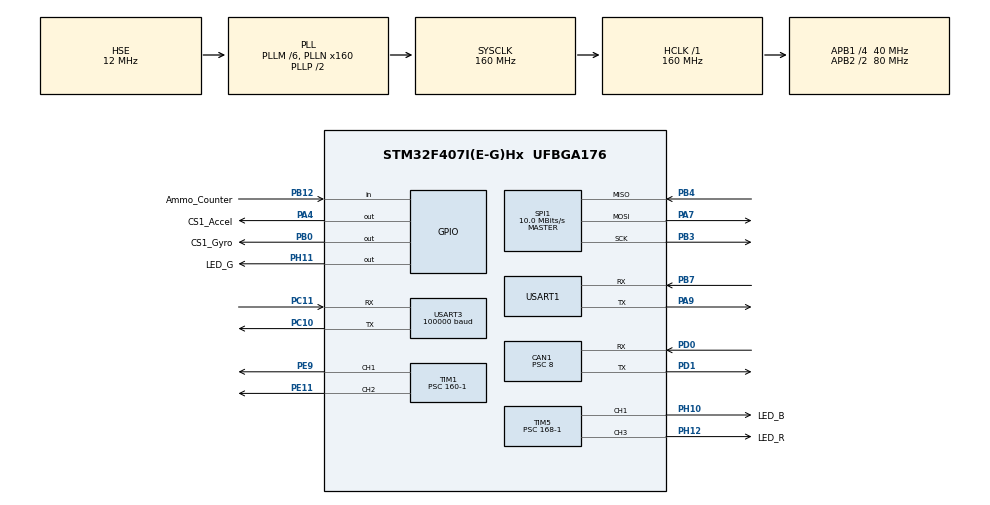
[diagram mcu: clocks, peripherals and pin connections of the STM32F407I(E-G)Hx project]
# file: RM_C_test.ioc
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CAN1.BS1=CAN_BS1_2TQ
CAN1.BS2=CAN_BS2_2TQ
CAN1.CalculateBaudRate=1000000
CAN1.CalculateTimeBit=1000
CAN1.CalculateTimeQuantum=200.0
CAN1.Prescaler=8
Dma.Request0=USART3_RX
Dma.USART3_RX.0.Direction=DMA_PERIPH_TO_MEMORY
Dma.USART3_RX.0.FIFOMode=DMA_FIFOMODE_DISABLE
Dma.USART3_RX.0.Instance=DMA1_Stream1
Dma.USART3_RX.0.MemDataAlignment=DMA_MDATAALIGN_BYTE
Dma.USART3_RX.0.MemInc=DMA_MINC_ENABLE
Dma.USART3_RX.0.Mode=DMA_CIRCULAR
Dma.USART3_RX.0.PeriphDataAlignment=DMA_PDATAALIGN_BYTE
Dma.USART3_RX.0.PeriphInc=DMA_PINC_DISABLE
Dma.USART3_RX.0.Priority=DMA_PRIORITY_VERY_HIGH
FREERTOS.Tasks01=defaultTask,24,128,StartDefaultTask,Default,NULL,Dynamic,NULL,NULL;SendMessage,8,256,start_SendMessage,Default,NULL,Dynamic,NULL,NULL;ReceiveMessage,40,128,startReceiveMessage,Default,NULL,Dynamic,NULL,NULL;ChangeTarget,24,128,fun_ChangeTarget,Default,NULL,Dynamic,NULL,NULL;PWM_Test,22,128,Start_PWM_Test,Default,NULL,Dynamic,NULL,NULL;IMU_Read,8,128,StartIMU_Read,Default,NULL,Dynamic,NULL,NULL;Chassis_task,8,128,Start_Chassis_task,Default,NULL,Dynamic,NULL,NULL
FREERTOS.configUSE_NEWLIB_REENTRANT=1
Mcu.Family=STM32F4
Mcu.Name=STM32F407I(E-G)Hx
Mcu.Package=UFBGA176
NVIC.CAN1_RX0_IRQn=true\:5\:0\:false\:false\:true\:true\:true\:true\:true
NVIC.CAN1_RX1_IRQn=true\:5\:0\:false\:false\:true\:true\:true\:true\:true
NVIC.CAN1_SCE_IRQn=true\:5\:0\:false\:false\:true\:true\:true\:true\:true
NVIC.CAN1_TX_IRQn=true\:5\:0\:true\:false\:true\:true\:true\:true\:true
NVIC.DMA1_Stream1_IRQn=true\:5\:0\:false\:false\:true\:true\:false\:true\:true
NVIC.FLASH_IRQn=true\:5\:0\:false\:false\:true\:true\:true\:true\:true
NVIC.PriorityGroup=NVIC_PRIORITYGROUP_4
NVIC.RCC_IRQn=true\:5\:0\:false\:false\:true\:true\:true\:false\:true
NVIC.SPI1_IRQn=true\:6\:0\:true\:false\:true\:true\:true\:true\:true
NVIC.TIM1_BRK_TIM9_IRQn=true\:5\:0\:false\:false\:true\:true\:true\:true\:true
NVIC.TIM1_CC_IRQn=true\:5\:0\:false\:false\:true\:true\:true\:true\:true
NVIC.TIM1_TRG_COM_TIM11_IRQn=true\:5\:0\:false\:false\:true\:true\:true\:true\:true
NVIC.TIM1_UP_TIM10_IRQn=true\:5\:0\:true\:false\:true\:true\:true\:true\:true
NVIC.TIM5_IRQn=true\:5\:0\:false\:false\:true\:true\:true\:true\:true
NVIC.TIM6_DAC_IRQn=true\:15\:0\:false\:false\:true\:false\:false\:true\:true
NVIC.TimeBase=TIM6_DAC_IRQn
NVIC.TimeBaseIP=TIM6
NVIC.USART1_IRQn=true\:7\:0\:true\:false\:true\:true\:true\:true\:true
NVIC.USART3_IRQn=true\:6\:0\:true\:true\:true\:1\:true\:true\:true\:true
PA13.Mode=Serial_Wire
PA13.Signal=SYS_JTMS-SWDIO
PA14.Mode=Serial_Wire
PA14.Signal=SYS_JTCK-SWCLK
PA4.GPIO_Label=CS1_Accel
PA4.GPIO_PuPd=GPIO_PULLUP
PA4.GPIO_Speed=GPIO_SPEED_FREQ_VERY_HIGH
PA4.Signal=GPIO_Output
PA7.Mode=Full_Duplex_Master
PA7.Signal=SPI1_MOSI
PA9.Mode=Asynchronous
PA9.Signal=USART1_TX
PB0.GPIO_Label=CS1_Gyro
PB0.GPIO_PuPd=GPIO_PULLUP
PB0.GPIO_Speed=GPIO_SPEED_FREQ_VERY_HIGH
PB0.Signal=GPIO_Output
PB12.GPIO_Label=Ammo_Counter
PB12.GPIO_PuPd=GPIO_PULLUP
PB12.Signal=GPIO_Input
PB3.Mode=Full_Duplex_Master
PB3.Signal=SPI1_SCK
PB4.Mode=Full_Duplex_Master
PB4.Signal=SPI1_MISO
PB7.Mode=Asynchronous
PB7.Signal=USART1_RX
PC10.Mode=Asynchronous
PC10.Signal=USART3_TX
PC11.Mode=Asynchronous
PC11.Signal=USART3_RX
PD0.Mode=CAN_Activate
PD0.Signal=CAN1_RX
PD1.Mode=CAN_Activate
PD1.Signal=CAN1_TX
PE11.GPIO_Speed=GPIO_SPEED_FREQ_HIGH
PE11.Signal=S_TIM1_CH2
PE9.GPIO_Speed=GPIO_SPEED_FREQ_HIGH
PE9.Signal=S_TIM1_CH1
PH0-OSC_IN.Mode=HSE-External-Oscillator
PH0-OSC_IN.Signal=RCC_OSC_IN
PH1-OSC_OUT.Mode=HSE-External-Oscillator
PH1-OSC_OUT.Signal=RCC_OSC_OUT
PH10.GPIO_Label=LED_B
PH10.GPIO_ModeDefaultPP=GPIO_MODE_AF_PP
PH10.GPIO_Speed=GPIO_SPEED_FREQ_HIGH
PH10.Signal=S_TIM5_CH1
PH11.GPIO_Label=LED_G
PH11.Signal=GPIO_Output
PH12.GPIO_Label=LED_R
PH12.GPIO_ModeDefaultPP=GPIO_MODE_AF_PP
PH12.GPIO_Speed=GPIO_SPEED_FREQ_HIGH
PH12.Signal=S_TIM5_CH3
ProjectManager.HeapSize=0x200
ProjectManager.StackSize=0x400
ProjectManager.TargetToolchain=STM32CubeIDE
RCC.48MHZClocksFreq_Value=80000000
RCC.AHBFreq_Value=160000000
RCC.APB1CLKDivider=RCC_HCLK_DIV4
RCC.APB1Freq_Value=40000000
RCC.APB1TimFreq_Value=80000000
RCC.APB2CLKDivider=RCC_HCLK_DIV2
RCC.APB2Freq_Value=80000000
RCC.APB2TimFreq_Value=160000000
RCC.CortexFreq_Value=160000000
RCC.HCLKFreq_Value=160000000
RCC.HSE_VALUE=12000000
RCC.HSI_VALUE=16000000
RCC.LSE_VALUE=32768
RCC.PLLM=6
RCC.PLLN=160
RCC.PLLSourceVirtual=RCC_PLLSOURCE_HSE
RCC.SYSCLKFreq_VALUE=160000000
RCC.SYSCLKSource=RCC_SYSCLKSOURCE_PLLCLK
RCC.VCOOutputFreq_Value=320000000
SH.S_TIM1_CH1.0=TIM1_CH1,PWM Generation1 CH1
SH.S_TIM1_CH2.0=TIM1_CH2,PWM Generation2 CH2
SH.S_TIM5_CH1.0=TIM5_CH1,PWM Generation1 CH1
SH.S_TIM5_CH3.0=TIM5_CH3,PWM Generation3 CH3
SPI1.BaudRatePrescaler=SPI_BAUDRATEPRESCALER_8
SPI1.CLKPhase=SPI_PHASE_2EDGE
SPI1.CLKPolarity=SPI_POLARITY_HIGH
SPI1.CalculateBaudRate=10.0 MBits/s
SPI1.Direction=SPI_DIRECTION_2LINES
SPI1.Mode=SPI_MODE_MASTER
SPI1.VirtualType=VM_MASTER
TIM1.AutoReloadPreload=TIM_AUTORELOAD_PRELOAD_ENABLE
TIM1.Channel-PWM\ Generation1\ CH1=TIM_CHANNEL_1
TIM1.Channel-PWM\ Generation2\ CH2=TIM_CHANNEL_2
TIM1.OCMode_PWM-PWM\ Generation2\ CH2=TIM_OCMODE_PWM1
TIM1.Period=2000-1
TIM1.Prescaler=160-1
TIM5.AutoReloadPreload=TIM_AUTORELOAD_PRELOAD_ENABLE
TIM5.Channel-PWM\ Generation1\ CH1=TIM_CHANNEL_1
TIM5.Channel-PWM\ Generation3\ CH3=TIM_CHANNEL_3
TIM5.Period=1000-1
TIM5.Prescaler=168-1
USART1.VirtualMode=VM_ASYNC
USART3.BaudRate=100000
USART3.Mode=MODE_RX
USART3.Parity=PARITY_EVEN
USART3.VirtualMode=VM_ASYNC
USART3.WordLength=WORDLENGTH_9B
VP_FREERTOS_VS_CMSIS_V2.Mode=CMSIS_V2
VP_SYS_VS_tim6.Mode=TIM6
VP_TIM1_VS_ClockSourceINT.Mode=Internal
VP_TIM5_VS_ClockSourceINT.Mode=Internal
board=custom

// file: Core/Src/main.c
/* USER CODE BEGIN Header */
/**
  ******************************************************************************
  * @file           : main.c
  * @brief          : Main program body
  ******************************************************************************
  * @attention
  *
  * Copyright (c) 2023 STMicroelectronics.
  * All rights reserved.
  *
  * This software is licensed under terms that can be found in the LICENSE file
  * in the root directory of this software component.
  * If no LICENSE file comes with this software, it is provided AS-IS.
  *
  ******************************************************************************
  */
/* USER CODE END Header */
#include "main.h"
#include "cmsis_os.h"
#include "can.h"
#include "dma.h"
#include "spi.h"
#include "tim.h"
#include "usart.h"
#include "gpio.h"

/* USER CODE BEGIN Includes */
#include "pid.h"
#include "kalman.h"
#include "IMU.h"
/* USER CODE END Includes */

/* USER CODE BEGIN PD */
uint8_t Message[] = "noob\n";
extern uint8_t RC_buff[18];
//uint8_t RC_buff[18];

/* USER CODE END PD */

void SystemClock_Config(void);
void MX_FREERTOS_Init(void);
static void MX_NVIC_Init(void);
/* USER CODE BEGIN PFP */
void Can_MessageConfig(void);
void Can_Filter1Config(void);
void HAL_CAN_RxFifo0MsgPendingCallback(CAN_HandleTypeDef *hcan);
void HAL_TIM_PeriodElapsedCallback(TIM_HandleTypeDef *htim);
void PWM_Init();
/* USER CODE END PFP */

int main(void)
{

  /* MCU Configuration--------------------------------------------------------*/

  /* Reset of all peripherals, Initializes the Flash interface and the Systick. */
  HAL_Init();

  /* Configure the system clock */
  SystemClock_Config();

  /* Initialize all configured peripherals */
  MX_GPIO_Init();
  MX_DMA_Init();
  MX_USART1_UART_Init();
  MX_CAN1_Init();
  MX_TIM1_Init();
  MX_TIM5_Init();
  MX_SPI1_Init();
  MX_USART3_UART_Init();

  /* Initialize interrupts */
  MX_NVIC_Init();
  /* USER CODE BEGIN 2 */
  Can_MessageConfig();
  Can_Filter1Config();
  HAL_CAN_ActivateNotification(&hcan1, CAN_IT_RX_FIFO0_MSG_PENDING);
  HAL_CAN_Start(&hcan1);
  PID_Clear(&PID_Motor_Speed[0]);
  PID_Clear(&PID_Motor_Angle[0]);
  PID_Init();
  KalmanFilter_Init(&Klm_Motor[0]);
  PWM_Init();
  BMI088_init();
  Motor[Motor_Yaw_ID].target_angle = 6144;
  Motor[Motor_Pitch_ID].target_angle = 3300;
  Motor[Motor_Yaw_ID].target_speed = 0;

  HAL_UART_Receive_DMA(&huart3, RC_buff, RC_FRAME_LENGTH);//初始化DMA
  __HAL_UART_ENABLE_IT(&huart3, UART_IT_IDLE);//IDLE 中断使能
  HAL_Delay(1000);

  /* USER CODE END 2 */

  /* Init scheduler */
  osKernelInitialize();  /* Call init function for freertos objects (in freertos.c) */
  MX_FREERTOS_Init();

  /* Start scheduler */
  osKernelStart();

  /* We should never get here as control is now taken by the scheduler */
  /* Infinite loop */
  /* USER CODE BEGIN WHILE */
  while (1)
  {

	  HAL_GPIO_TogglePin(LED_G_GPIO_Port, LED_G_Pin);
	  HAL_Delay(500);

    /* USER CODE END WHILE */

  }
}

void SystemClock_Config(void)
{
  RCC_OscInitTypeDef RCC_OscInitStruct = {0};
  RCC_ClkInitTypeDef RCC_ClkInitStruct = {0};

  /** Configure the main internal regulator output voltage
  */
  __HAL_RCC_PWR_CLK_ENABLE();
  __HAL_PWR_VOLTAGESCALING_CONFIG(PWR_REGULATOR_VOLTAGE_SCALE1);

  /** Initializes the RCC Oscillators according to the specified parameters
  * in the RCC_OscInitTypeDef structure.
  */
  RCC_OscInitStruct.OscillatorType = RCC_OSCILLATORTYPE_HSE;
  RCC_OscInitStruct.HSEState = RCC_HSE_ON;
  RCC_OscInitStruct.PLL.PLLState = RCC_PLL_ON;
  RCC_OscInitStruct.PLL.PLLSource = RCC_PLLSOURCE_HSE;
  RCC_OscInitStruct.PLL.PLLM = 6;
  RCC_OscInitStruct.PLL.PLLN = 160;
  RCC_OscInitStruct.PLL.PLLP = RCC_PLLP_DIV2;
  RCC_OscInitStruct.PLL.PLLQ = 4;
  if (HAL_RCC_OscConfig(&RCC_OscInitStruct) != HAL_OK)
  {
    Error_Handler();
  }

  /** Initializes the CPU, AHB and APB buses clocks
  */
  RCC_ClkInitStruct.ClockType = RCC_CLOCKTYPE_HCLK|RCC_CLOCKTYPE_SYSCLK
                              |RCC_CLOCKTYPE_PCLK1|RCC_CLOCKTYPE_PCLK2;
  RCC_ClkInitStruct.SYSCLKSource = RCC_SYSCLKSOURCE_PLLCLK;
  RCC_ClkInitStruct.AHBCLKDivider = RCC_SYSCLK_DIV1;
  RCC_ClkInitStruct.APB1CLKDivider = RCC_HCLK_DIV4;
  RCC_ClkInitStruct.APB2CLKDivider = RCC_HCLK_DIV2;

  if (HAL_RCC_ClockConfig(&RCC_ClkInitStruct, FLASH_LATENCY_5) != HAL_OK)
  {
    Error_Handler();
  }
}

/**
  * @brief NVIC Configuration.
  * @retval None
  */
static void MX_NVIC_Init(void)
{
  /* USART3_IRQn interrupt configuration */
  HAL_NVIC_SetPriority(USART3_IRQn, 6, 0);
  HAL_NVIC_EnableIRQ(USART3_IRQn);
}

/* USER CODE BEGIN 4 */

void PWM_Init()
{
	  HAL_TIM_Base_Start(&htim1);
	  HAL_TIM_PWM_Start(&htim1,TIM_CHANNEL_1);
	  HAL_TIM_PWM_Start(&htim1,TIM_CHANNEL_2);
//	  HAL_TIM_PWM_Start(&htim1, TIM_CHANNEL_3);
//	  HAL_TIM_PWM_Start(&htim1, TIM_CHANNEL_4);
//
	  HAL_Delay(100);
//void SPEED_INIT(int speed){
	  __HAL_TIM_SET_COMPARE(&htim1,TIM_CHANNEL_1,1000);
	  HAL_Delay(1650);
	  __HAL_TIM_SET_COMPARE(&htim1,TIM_CHANNEL_2,1000);
	  HAL_Delay(1650);
//}
//void SPEED_SET(int speed){//速度极限�???????1999，但是禁止如此使用，极易损坏发射管，曾经测试的时候一次发射就打废�???????对摩擦轮了且造成了钢板损坏，�???????以�?�度建议�???????1001~1600左右�???????
	  __HAL_TIM_SET_COMPARE(&htim1,TIM_CHANNEL_1,1200);
	  __HAL_TIM_SET_COMPARE(&htim1,TIM_CHANNEL_2,1200);
	  HAL_Delay(500);
//	  __HAL_TIM_SET_COMPARE(&htim1,TIM_CHANNEL_1,0);
//	  __HAL_TIM_SET_COMPARE(&htim1,TIM_CHANNEL_2,0);
//	  HAL_TIM_PWM_Stop(&htim1, TIM_CHANNEL_1);
//	  HAL_TIM_PWM_Stop(&htim1, TIM_CHANNEL_2);
}
/* USER CODE END 4 */

void HAL_TIM_PeriodElapsedCallback(TIM_HandleTypeDef *htim)
{
  if (htim->Instance == TIM6) {
    HAL_IncTick();
  }
}

void Error_Handler(void)
{
  __disable_irq();
  while (1)
  {
  }
}

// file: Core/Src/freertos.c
/* USER CODE BEGIN Header */
/**
  ******************************************************************************
  * File Name          : freertos.c
  * Description        : Code for freertos applications
  ******************************************************************************
  * @attention
  *
  * Copyright (c) 2023 STMicroelectronics.
  * All rights reserved.
  *
  * This software is licensed under terms that can be found in the LICENSE file
  * in the root directory of this software component.
  * If no LICENSE file comes with this software, it is provided AS-IS.
  *
  ******************************************************************************
  */
/* USER CODE END Header */

#include "FreeRTOS.h"
#include "task.h"
#include "main.h"
#include "cmsis_os.h"

/* USER CODE BEGIN Includes */
#include "usart.h"
#include "can.h"
#include "pid.h"
#include "kalman.h"
#include "tim.h"
#include "spi.h"
#include "IMU.h"
#include "remote.h"
#include "Chassis.h"
#include "MahonyAHRS.h"
#include "math.h"
/* USER CODE END Includes */

/* USER CODE BEGIN PD */
extern uint8_t Message[];
int spcount = 0;
/* USER CODE END PD */

/* Definitions for defaultTask */
osThreadId_t defaultTaskHandle;
const osThreadAttr_t defaultTask_attributes = {
  .name = "defaultTask",
  .stack_size = 128 * 4,
  .priority = (osPriority_t) osPriorityNormal,
};
/* Definitions for SendMessage */
osThreadId_t SendMessageHandle;
const osThreadAttr_t SendMessage_attributes = {
  .name = "SendMessage",
  .stack_size = 256 * 4,
  .priority = (osPriority_t) osPriorityLow,
};
/* Definitions for ReceiveMessage */
osThreadId_t ReceiveMessageHandle;
const osThreadAttr_t ReceiveMessage_attributes = {
  .name = "ReceiveMessage",
  .stack_size = 128 * 4,
  .priority = (osPriority_t) osPriorityHigh,
};
/* Definitions for ChangeTarget */
osThreadId_t ChangeTargetHandle;
const osThreadAttr_t ChangeTarget_attributes = {
  .name = "ChangeTarget",
  .stack_size = 128 * 4,
  .priority = (osPriority_t) osPriorityNormal,
};
/* Definitions for PWM_Test */
osThreadId_t PWM_TestHandle;
const osThreadAttr_t PWM_Test_attributes = {
  .name = "PWM_Test",
  .stack_size = 128 * 4,
  .priority = (osPriority_t) osPriorityBelowNormal6,
};
/* Definitions for IMU_Read */
osThreadId_t IMU_ReadHandle;
const osThreadAttr_t IMU_Read_attributes = {
  .name = "IMU_Read",
  .stack_size = 128 * 4,
  .priority = (osPriority_t) osPriorityLow,
};
/* Definitions for Chassis_task */
osThreadId_t Chassis_taskHandle;
const osThreadAttr_t Chassis_task_attributes = {
  .name = "Chassis_task",
  .stack_size = 128 * 4,
  .priority = (osPriority_t) osPriorityLow,
};

void StartDefaultTask(void *argument);
void start_SendMessage(void *argument);
void startReceiveMessage(void *argument);
void fun_ChangeTarget(void *argument);
void Start_PWM_Test(void *argument);
void StartIMU_Read(void *argument);
void Start_Chassis_task(void *argument);

void MX_FREERTOS_Init(void); /* (MISRA C 2004 rule 8.1) */

void MX_FREERTOS_Init(void) {

  /* Create the thread(s) */
  /* creation of defaultTask */
  defaultTaskHandle = osThreadNew(StartDefaultTask, NULL, &defaultTask_attributes);

  /* creation of SendMessage */
  SendMessageHandle = osThreadNew(start_SendMessage, NULL, &SendMessage_attributes);

  /* creation of ReceiveMessage */
  ReceiveMessageHandle = osThreadNew(startReceiveMessage, NULL, &ReceiveMessage_attributes);

  /* creation of ChangeTarget */
  ChangeTargetHandle = osThreadNew(fun_ChangeTarget, NULL, &ChangeTarget_attributes);

  /* creation of PWM_Test */
  PWM_TestHandle = osThreadNew(Start_PWM_Test, NULL, &PWM_Test_attributes);

  /* creation of IMU_Read */
  IMU_ReadHandle = osThreadNew(StartIMU_Read, NULL, &IMU_Read_attributes);

  /* creation of Chassis_task */
  Chassis_taskHandle = osThreadNew(Start_Chassis_task, NULL, &Chassis_task_attributes);

}

void StartDefaultTask(void *argument)
{
  for(;;)
  {
    osDelay(1);
  }
}

void start_SendMessage(void *argument)
{
  /* USER CODE BEGIN start_SendMessage */
	static int16_t temp_yaw, temp_pitch, temp_ammofeed;
  /* Infinite loop */
  for(;;)
  {

	  PID_Origin(&PID_Motor_Angle[Motor_Pitch_ID], Motor[Motor_Pitch_ID].angle, Motor[Motor_Pitch_ID].target_angle);
	  PID_Origin(&PID_Motor_Angle[Motor_Yaw_ID], Motor[Motor_Yaw_ID].angle, Motor[Motor_Yaw_ID].target_angle);

	  PID_Incr(&PID_Motor_Speed[Motor_AmmoFeed_ID],Motor[Motor_AmmoFeed_ID].speed,Motor[Motor_AmmoFeed_ID].target_speed);
      PID_Incr(&PID_Motor_Speed[Motor_Yaw_ID], Motor[Motor_Yaw_ID].speed, PID_Motor_Angle[Motor_Yaw_ID].Output);
	  PID_Incr(&PID_Motor_Speed[Motor_Pitch_ID],Motor[Motor_Pitch_ID].speed,PID_Motor_Angle[Motor_Pitch_ID].Output);

	  temp_yaw += PID_Motor_Speed[Motor_Yaw_ID].Output;
	  temp_pitch += PID_Motor_Speed[Motor_Pitch_ID].Output;
	  temp_ammofeed += PID_Motor_Speed[Motor_AmmoFeed_ID].Output;

	  Can_TxData[0] = (temp_pitch>>8);
	  Can_TxData[1] = temp_pitch;

	  Can_TxData[2] = (temp_yaw>>8);
	  Can_TxData[3] = temp_yaw;

	  Can_TxData[4] = (temp_ammofeed>>8);
	  Can_TxData[5] = temp_ammofeed;

	  HAL_CAN_AddTxMessage(&hcan1, &Can_cmdHeader[Motor_Pitch_ID], Can_TxData, (uint32_t*)CAN_TX_MAILBOX0);
	  //osDelay(1);
	  Chassis_Move();
	  Can_TxData[0] = Chassis_ctrl[0]>>8;
	  Can_TxData[1] = Chassis_ctrl[0];
 	  Can_TxData[2] = Chassis_ctrl[1]>>8;
 	  Can_TxData[3] = Chassis_ctrl[1];
 	  Can_TxData[4] = Chassis_ctrl[2]>>8;
 	  Can_TxData[5] = Chassis_ctrl[2];
 	  Can_TxData[6] = Chassis_ctrl[3]>>8;
 	  Can_TxData[7] = Chassis_ctrl[3];

	  HAL_CAN_AddTxMessage(&hcan1,&Can_cmdHeader[Motor_LeftFront_ID],Can_TxData,(uint32_t*)CAN_TX_MAILBOX0);
	  osDelay(1);
  }
  /* USER CODE END start_SendMessage */
}

void startReceiveMessage(void *argument)
{
  /* USER CODE BEGIN startReceiveMessage */
	uint8_t ammo_count=0, ammo_temp = 0;
	GPIO_PinState pinstate = GPIO_PIN_SET;
  /* Infinite loop */
  for(;;)
  {
	  if(HAL_GPIO_ReadPin(Ammo_Counter_GPIO_Port, Ammo_Counter_Pin) != pinstate)
	  {
		  pinstate = !pinstate;
		  ammo_temp++;
	  }
	  if(ammo_temp >=2)
	  {
		  ammo_count++;
		  ammo_temp = 0;
	  }
	  HAL_UART_Transmit(&huart1, &ammo_count, 1, 100);

    osDelay(5);
  }
  /* USER CODE END startReceiveMessage */
}

void fun_ChangeTarget(void *argument)
{
  /* USER CODE BEGIN fun_ChangeTarget */

  /* Infinite loop */
	for(;;)
  {
//		Motor[6].target_angle = RC_Ctl.rc.ch3*2 + 6144;
//		if(Motor[6].target_angle >= 8192) Motor[6].target_angle -=8192;
//		if(Motor[6].target_angle <= 0) Motor[6].target_angle += 8192;
//		Motor[5].target_angle = (RC_Ctl.rc.ch4 >> 1) + 3300;
		//omega = -RC_Ctl.rc.ch3/600*0.8;
		speed_x = RC_Ctl.rc.ch2/600*0.3;
		speed_y = RC_Ctl.rc.ch1/600*0.3;
		Motor[Motor_Yaw_ID].target_angle -= (RC_Ctl.rc.ch3>>5);
		Motor[Motor_Pitch_ID].target_angle += (RC_Ctl.rc.ch4>>5);
		if(Motor[6].target_angle >= 8192) Motor[6].target_angle -=8192;
		if(Motor[6].target_angle <= 0) Motor[6].target_angle += 8192;
		if(Motor[Motor_Pitch_ID].target_angle > 3700)
			Motor[Motor_Pitch_ID].target_angle = 3700;
		if(Motor[Motor_Pitch_ID].target_angle < 2900)
			Motor[Motor_Pitch_ID].target_angle = 2900;
		if(RC_Ctl.rc.sw1 == 2)
		{
			Motor[Motor_AmmoFeed_ID].target_speed = 1200;
		}
		else
		{
			Motor[Motor_AmmoFeed_ID].target_speed = 0;
		}

		osDelay(5);
  }

  /* USER CODE END fun_ChangeTarget */
}

void Start_PWM_Test(void *argument)
{
  /* USER CODE BEGIN Start_PWM_Test */
	int pwm_count = 500;
  /* Infinite loop */
  for(;;)
  {
	  for(;pwm_count < 1000; pwm_count++)
	  {
		  __HAL_TIM_SET_COMPARE(&htim5, TIM_CHANNEL_1, pwm_count);
		  __HAL_TIM_SET_COMPARE(&htim5, TIM_CHANNEL_3, pwm_count);
		  osDelay(2);
	  }
	  for(;pwm_count > 0; pwm_count--)
	  {
	      __HAL_TIM_SET_COMPARE(&htim5, TIM_CHANNEL_1, pwm_count);
	  	  __HAL_TIM_SET_COMPARE(&htim5, TIM_CHANNEL_3, pwm_count);
	  	  osDelay(2);
	  }
    osDelay(5);
  }
  /* USER CODE END Start_PWM_Test */
}

void StartIMU_Read(void *argument)
{
  /* USER CODE BEGIN StartIMU_Read */
  /* Infinite loop */
  for(;;)
  {
	 BMI088_read_Gyro(&imu_data);
	 BMI088_read_Accel(&imu_data);
	 for(int i=0;i<3;i++)
	 {
//		 if(fabs(imu_data.gyro[i]) > 75)
//			 imu_data.angle[i] += imu_data.gyro[i]*0.01/34.497;//*0.00106526443603169529841533860381f;

		 imu_gyro[i] = imu_data.gyro[i]/65.536;
		 imu_accel[i] = imu_data.accel[i]*0.0008974;
	 }
	 MahonyAHRSupdateIMU(imu_data.angle_q, imu_gyro[0], imu_gyro[1], imu_gyro[2], imu_accel[0], imu_accel[1], imu_accel[2]);
	 imu_data.angle[0] = atan2f(2.0f*(imu_data.angle_q[0]*imu_data.angle_q[3]+imu_data.angle_q[1]*imu_data.angle_q[2]), 2.0f*(imu_data.angle_q[0]*imu_data.angle_q[0]+imu_data.angle_q[1]*imu_data.angle_q[1])-1.0f);
	 imu_data.angle[1] = asinf(-2.0f*(imu_data.angle_q[1]*imu_data.angle_q[3]-imu_data.angle_q[0]*imu_data.angle_q[2]));
	 imu_data.angle[2] = atan2f(2.0f*(imu_data.angle_q[0]*imu_data.angle_q[1]+imu_data.angle_q[2]*imu_data.angle_q[3]),2.0f*(imu_data.angle_q[0]*imu_data.angle_q[0]+imu_data.angle_q[3]*imu_data.angle_q[3])-1.0f);

		 IMU_fliter(&imu_fliter[0], imu_data.angle[0], imu_gyro[0]);
		 imu_data.angle[0] = imu_fliter[0].output;

    osDelay(10);
  }
  /* USER CODE END StartIMU_Read */
}

void Start_Chassis_task(void *argument)
{
  /* USER CODE BEGIN Start_Chassis_task */
  /* Infinite loop */
  for(;;)
  {
    osDelay(5);
  }
  /* USER CODE END Start_Chassis_task */
}
